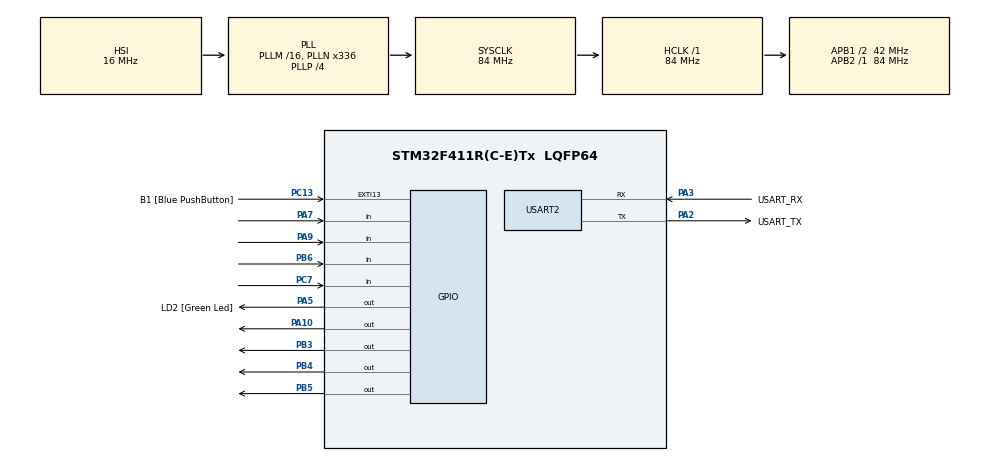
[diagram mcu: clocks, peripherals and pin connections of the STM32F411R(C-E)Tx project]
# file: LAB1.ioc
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Mcu.Family=STM32F4
Mcu.Name=STM32F411R(C-E)Tx
Mcu.Package=LQFP64
NVIC.PriorityGroup=NVIC_PRIORITYGROUP_0
PA10.GPIO_ModeDefaultOutputPP=GPIO_MODE_OUTPUT_OD
PA10.GPIO_PuPd=GPIO_NOPULL
PA10.PinState=GPIO_PIN_SET
PA10.Signal=GPIO_Output
PA13.GPIO_Label=TMS
PA13.Mode=Serial_Wire
PA13.Signal=SYS_JTMS-SWDIO
PA14.GPIO_Label=TCK
PA14.Mode=Serial_Wire
PA14.Signal=SYS_JTCK-SWCLK
PA2.GPIO_Label=USART_TX
PA2.Mode=Asynchronous
PA2.Signal=USART2_TX
PA3.GPIO_Label=USART_RX
PA3.Mode=Asynchronous
PA3.Signal=USART2_RX
PA5.GPIO_Label=LD2 [Green Led]
PA5.Signal=GPIO_Output
PA7.GPIO_PuPd=GPIO_PULLUP
PA7.Signal=GPIO_Input
PA9.GPIO_PuPd=GPIO_PULLUP
PA9.Signal=GPIO_Input
PB3.GPIO_ModeDefaultOutputPP=GPIO_MODE_OUTPUT_OD
PB3.GPIO_PuPd=GPIO_NOPULL
PB3.PinState=GPIO_PIN_SET
PB3.Signal=GPIO_Output
PB4.GPIO_ModeDefaultOutputPP=GPIO_MODE_OUTPUT_OD
PB4.GPIO_PuPd=GPIO_NOPULL
PB4.PinState=GPIO_PIN_SET
PB4.Signal=GPIO_Output
PB5.GPIO_ModeDefaultOutputPP=GPIO_MODE_OUTPUT_OD
PB5.GPIO_PuPd=GPIO_NOPULL
PB5.PinState=GPIO_PIN_SET
PB5.Signal=GPIO_Output
PB6.GPIO_PuPd=GPIO_PULLUP
PB6.Signal=GPIO_Input
PC13-ANTI_TAMP.GPIO_Label=B1 [Blue PushButton]
PC13-ANTI_TAMP.GPIO_ModeDefaultEXTI=GPIO_MODE_IT_FALLING
PC13-ANTI_TAMP.Signal=GPXTI13
PC14-OSC32_IN.Mode=LSE-External-Oscillator
PC14-OSC32_IN.Signal=RCC_OSC32_IN
PC15-OSC32_OUT.Mode=LSE-External-Oscillator
PC15-OSC32_OUT.Signal=RCC_OSC32_OUT
PC7.GPIO_PuPd=GPIO_PULLUP
PC7.Signal=GPIO_Input
PH0\ -\ OSC_IN.Mode=HSE-External-Clock-Source
PH0\ -\ OSC_IN.Signal=RCC_OSC_IN
PH1\ -\ OSC_OUT.Mode=HSE-External-Clock-Source
PH1\ -\ OSC_OUT.Signal=RCC_OSC_OUT
ProjectManager.HeapSize=0x200
ProjectManager.StackSize=0x400
ProjectManager.TargetToolchain=STM32CubeIDE
RCC.48MHZClocksFreq_Value=84000000
RCC.AHBFreq_Value=84000000
RCC.APB1CLKDivider=RCC_HCLK_DIV2
RCC.APB1Freq_Value=42000000
RCC.APB1TimFreq_Value=84000000
RCC.APB2Freq_Value=84000000
RCC.APB2TimFreq_Value=84000000
RCC.CortexFreq_Value=84000000
RCC.FLatency-AdvancedSettings=FLASH_LATENCY_2
RCC.HCLKFreq_Value=84000000
RCC.HSE_VALUE=8000000
RCC.HSI_VALUE=16000000
RCC.PLLN=336
RCC.PLLP=RCC_PLLP_DIV4
RCC.SYSCLKFreq_VALUE=84000000
RCC.SYSCLKSource=RCC_SYSCLKSOURCE_PLLCLK
RCC.VCOOutputFreq_Value=336000000
USART2.VirtualMode=VM_ASYNC
board=NUCLEO-F411RE

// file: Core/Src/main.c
/* USER CODE BEGIN Header */
/**
 ******************************************************************************
 * @file           : main.c
 * @brief          : Main program body
 ******************************************************************************
 * @attention
 *
 * Copyright (c) 2023 STMicroelectronics.
 * All rights reserved.
 *
 * This software is licensed under terms that can be found in the LICENSE file
 * in the root directory of this software component.
 * If no LICENSE file comes with this software, it is provided AS-IS.
 *
 ******************************************************************************
 */
/* USER CODE END Header */
#include "main.h"

UART_HandleTypeDef huart2;

/* USER CODE BEGIN PV */
int e = 0;
struct PortPin {
	GPIO_TypeDef *PORT;
	uint16_t PIN;
};
struct PortPin R[4] = { { GPIOA, GPIO_PIN_10 }, { GPIOB, GPIO_PIN_3 }, { GPIOB,
		GPIO_PIN_5 }, { GPIOB, GPIO_PIN_4 } };
struct PortPin L[4] = { { GPIOA, GPIO_PIN_9 }, { GPIOC, GPIO_PIN_7 }, { GPIOB,
		GPIO_PIN_6 }, { GPIOA, GPIO_PIN_7 } };
struct Pinstate {
	int16_t Current;
	int16_t Last;
};
uint16_t ButtonMatrix = 0;
uint16_t data[11], dataTrue[11] = { 512, 2, 1024, 2, 8, 32, 8, 8, 8, 64, 16 };
uint8_t step = 0;
char status = 0;
/* USER CODE END PV */

void SystemClock_Config(void);
static void MX_GPIO_Init(void);
static void MX_USART2_UART_Init(void);
/* USER CODE BEGIN PFP */
void ReadMatrixButton_1Row();
void SaveNumber(uint16_t input);
void CheckData(uint16_t input, uint8_t n);
/* USER CODE END PFP */

int main(void) {

	/* MCU Configuration--------------------------------------------------------*/

	/* Reset of all peripherals, Initializes the Flash interface and the Systick. */
	HAL_Init();

	/* Configure the system clock */
	SystemClock_Config();

	/* Initialize all configured peripherals */
	MX_GPIO_Init();
	MX_USART2_UART_Init();

	/* Infinite loop */
	/* USER CODE BEGIN WHILE */
	while (1) {
		struct Pinstate event;
		static uint32_t timestamp = 0;
		if (HAL_GetTick() >= timestamp) {
			timestamp = HAL_GetTick() + 100;
			ReadMatrixButton_1Row();
			event.Current = ButtonMatrix;
			if (event.Last == 0 && event.Current != 0) {
				switch (event.Current) {
				case 4096:
					e = 0; //Clear LED_Off
					HAL_GPIO_WritePin(GPIOA, GPIO_PIN_5, 0);
					step = 0;
					break;
				case 8192:
					e = 0; //BS
					if (step > 0) {
						HAL_GPIO_WritePin(GPIOA, GPIO_PIN_5, 0);
						step -= 1;
					}

					break;
				case -32768:
					if (status == 1) {
						CheckData(event.Current, 11); //OK
					}
					break;
				default:
					SaveNumber(event.Current);
				}
			}
			event.Last = event.Current;
		}
		/* USER CODE END WHILE */

	}
}

void SystemClock_Config(void) {
	RCC_OscInitTypeDef RCC_OscInitStruct = { 0 };
	RCC_ClkInitTypeDef RCC_ClkInitStruct = { 0 };

	/** Configure the main internal regulator output voltage
	 */
	__HAL_RCC_PWR_CLK_ENABLE();
	__HAL_PWR_VOLTAGESCALING_CONFIG(PWR_REGULATOR_VOLTAGE_SCALE1);

	/** Initializes the RCC Oscillators according to the specified parameters
	 * in the RCC_OscInitTypeDef structure.
	 */
	RCC_OscInitStruct.OscillatorType = RCC_OSCILLATORTYPE_HSI;
	RCC_OscInitStruct.HSIState = RCC_HSI_ON;
	RCC_OscInitStruct.HSICalibrationValue = RCC_HSICALIBRATION_DEFAULT;
	RCC_OscInitStruct.PLL.PLLState = RCC_PLL_ON;
	RCC_OscInitStruct.PLL.PLLSource = RCC_PLLSOURCE_HSI;
	RCC_OscInitStruct.PLL.PLLM = 16;
	RCC_OscInitStruct.PLL.PLLN = 336;
	RCC_OscInitStruct.PLL.PLLP = RCC_PLLP_DIV4;
	RCC_OscInitStruct.PLL.PLLQ = 4;
	if (HAL_RCC_OscConfig(&RCC_OscInitStruct) != HAL_OK) {
		Error_Handler();
	}

	/** Initializes the CPU, AHB and APB buses clocks
	 */
	RCC_ClkInitStruct.ClockType = RCC_CLOCKTYPE_HCLK | RCC_CLOCKTYPE_SYSCLK
			| RCC_CLOCKTYPE_PCLK1 | RCC_CLOCKTYPE_PCLK2;
	RCC_ClkInitStruct.SYSCLKSource = RCC_SYSCLKSOURCE_PLLCLK;
	RCC_ClkInitStruct.AHBCLKDivider = RCC_SYSCLK_DIV1;
	RCC_ClkInitStruct.APB1CLKDivider = RCC_HCLK_DIV2;
	RCC_ClkInitStruct.APB2CLKDivider = RCC_HCLK_DIV1;

	if (HAL_RCC_ClockConfig(&RCC_ClkInitStruct, FLASH_LATENCY_2) != HAL_OK) {
		Error_Handler();
	}
}

static void MX_USART2_UART_Init(void) {

	huart2.Instance = USART2;
	huart2.Init.BaudRate = 115200;
	huart2.Init.WordLength = UART_WORDLENGTH_8B;
	huart2.Init.StopBits = UART_STOPBITS_1;
	huart2.Init.Parity = UART_PARITY_NONE;
	huart2.Init.Mode = UART_MODE_TX_RX;
	huart2.Init.HwFlowCtl = UART_HWCONTROL_NONE;
	huart2.Init.OverSampling = UART_OVERSAMPLING_16;
	if (HAL_UART_Init(&huart2) != HAL_OK) {
		Error_Handler();
	}

}

static void MX_GPIO_Init(void) {
	GPIO_InitTypeDef GPIO_InitStruct = { 0 };

	/* GPIO Ports Clock Enable */
	__HAL_RCC_GPIOC_CLK_ENABLE();
	__HAL_RCC_GPIOH_CLK_ENABLE();
	__HAL_RCC_GPIOA_CLK_ENABLE();
	__HAL_RCC_GPIOB_CLK_ENABLE();

	/*Configure GPIO pin Output Level */
	HAL_GPIO_WritePin(LD2_GPIO_Port, LD2_Pin, GPIO_PIN_RESET);

	/*Configure GPIO pin Output Level */
	HAL_GPIO_WritePin(GPIOA, GPIO_PIN_10, GPIO_PIN_SET);

	/*Configure GPIO pin Output Level */
	HAL_GPIO_WritePin(GPIOB, GPIO_PIN_3 | GPIO_PIN_4 | GPIO_PIN_5,
			GPIO_PIN_SET);

	/*Configure GPIO pin : B1_Pin */
	GPIO_InitStruct.Pin = B1_Pin;
	GPIO_InitStruct.Mode = GPIO_MODE_IT_FALLING;
	GPIO_InitStruct.Pull = GPIO_NOPULL;
	HAL_GPIO_Init(B1_GPIO_Port, &GPIO_InitStruct);

	/*Configure GPIO pin : LD2_Pin */
	GPIO_InitStruct.Pin = LD2_Pin;
	GPIO_InitStruct.Mode = GPIO_MODE_OUTPUT_PP;
	GPIO_InitStruct.Pull = GPIO_NOPULL;
	GPIO_InitStruct.Speed = GPIO_SPEED_FREQ_LOW;
	HAL_GPIO_Init(LD2_GPIO_Port, &GPIO_InitStruct);

	/*Configure GPIO pins : PA7 PA9 */
	GPIO_InitStruct.Pin = GPIO_PIN_7 | GPIO_PIN_9;
	GPIO_InitStruct.Mode = GPIO_MODE_INPUT;
	GPIO_InitStruct.Pull = GPIO_PULLUP;
	HAL_GPIO_Init(GPIOA, &GPIO_InitStruct);

	/*Configure GPIO pin : PC7 */
	GPIO_InitStruct.Pin = GPIO_PIN_7;
	GPIO_InitStruct.Mode = GPIO_MODE_INPUT;
	GPIO_InitStruct.Pull = GPIO_PULLUP;
	HAL_GPIO_Init(GPIOC, &GPIO_InitStruct);

	/*Configure GPIO pin : PA10 */
	GPIO_InitStruct.Pin = GPIO_PIN_10;
	GPIO_InitStruct.Mode = GPIO_MODE_OUTPUT_OD;
	GPIO_InitStruct.Pull = GPIO_NOPULL;
	GPIO_InitStruct.Speed = GPIO_SPEED_FREQ_LOW;
	HAL_GPIO_Init(GPIOA, &GPIO_InitStruct);

	/*Configure GPIO pins : PB3 PB4 PB5 */
	GPIO_InitStruct.Pin = GPIO_PIN_3 | GPIO_PIN_4 | GPIO_PIN_5;
	GPIO_InitStruct.Mode = GPIO_MODE_OUTPUT_OD;
	GPIO_InitStruct.Pull = GPIO_NOPULL;
	GPIO_InitStruct.Speed = GPIO_SPEED_FREQ_LOW;
	HAL_GPIO_Init(GPIOB, &GPIO_InitStruct);

	/*Configure GPIO pin : PB6 */
	GPIO_InitStruct.Pin = GPIO_PIN_6;
	GPIO_InitStruct.Mode = GPIO_MODE_INPUT;
	GPIO_InitStruct.Pull = GPIO_PULLUP;
	HAL_GPIO_Init(GPIOB, &GPIO_InitStruct);

}

/* USER CODE BEGIN 4 */
void ReadMatrixButton_1Row() {
	static uint8_t X = 0;
	register int i;
	for (i = 0; i < 4; i++) {
		if (HAL_GPIO_ReadPin(L[i].PORT, L[i].PIN)) {
			ButtonMatrix &= ~(1 << (X * 4 + i));
		} else {
			ButtonMatrix |= 1 << (X * 4 + i);
		}

	}
	HAL_GPIO_WritePin(R[X].PORT, R[X].PIN, 1);
	HAL_GPIO_WritePin(R[(X + 1) % 4].PORT, R[(X + 1) % 4].PIN, 0);
	X++;
	X %= 4;
}
void SaveNumber(uint16_t input) {
	if (input != 128 && input != 2048 && input != 16384 && step < 11) {
		data[step] = input;
		if (step == 10) {
			status = 1;
		} else {
			status = 0;
		}
		step += 1;
	}
}
void CheckData(uint16_t input, uint8_t n) {
	register i;
	status = 3;
	for (i = 0; i < n; i++) {
		if (data[i] != dataTrue[i]) {
			status = 1;
		}
	}
	if (status == 3) {
		//led On
		HAL_GPIO_WritePin(GPIOA, GPIO_PIN_5, 1);
		e = 100;
	}
}
/* USER CODE END 4 */

void Error_Handler(void) {
	__disable_irq();
	while (1) {
	}
}
